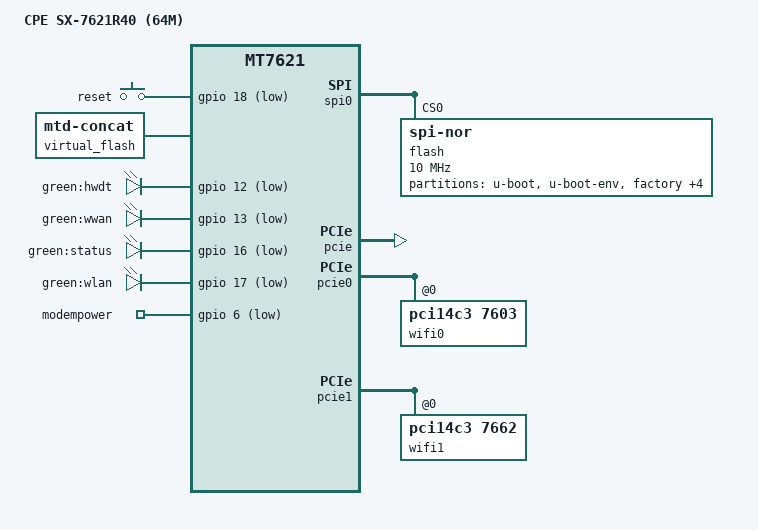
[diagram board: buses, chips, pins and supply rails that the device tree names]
#include "mt7621.dtsi"

#include <dt-bindings/gpio/gpio.h>
#include <dt-bindings/input/input.h>

/ {
	compatible = "oem,cpe-sx-7621r40", "mediatek,mt7621-soc";
	model = "CPE SX-7621R40 (64M)";

	aliases {
		led-boot = &led_status;
		led-failsafe = &led_status;
		led-running = &led_status;
		led-upgrade = &led_status;
		label-mac-device = &wifi0;
	};

	chosen {
		bootargs = "console=ttyS0,115200";
	};

	keys {
		compatible = "gpio-keys";

		reset {
			label = "reset";
			gpios = <&gpio 18 GPIO_ACTIVE_LOW>;
			linux,code = <KEY_RESTART>;
		};
	};

	virtual_flash {
		compatible = "mtd-concat";
		devices = <&fwconcat0 &fwconcat1>;
		partitions {
			compatible = "fixed-partitions";
			#address-cells = <1>;
			#size-cells = <1>;

			partition@0 {
				compatible = "denx,uimage";
				label = "firmware";
				reg = <0x0 0x3f90000>;
			};
		};
	};


	leds {
		compatible = "gpio-leds";

		hwdt {
			label = "green:hwdt";
			gpios = <&gpio 12 GPIO_ACTIVE_LOW>;
			linux,default-trigger = "timer";
		};

		wwan {
			label = "green:wwan";
			gpios = <&gpio 13 GPIO_ACTIVE_LOW>;
		};

		led_status: status {
			label = "green:status";
			gpios = <&gpio 16 GPIO_ACTIVE_LOW>;
		};

		wlan {
			label = "green:wlan";
			gpios = <&gpio 17 GPIO_ACTIVE_LOW>;
		};

	};

	gpio_export {
		compatible = "gpio-export";
		#size-cells = <0>;

		modempower {
			gpio-export,name = "modempower";
			gpio-export,output = <0>;
			gpios = <&gpio 6 GPIO_ACTIVE_LOW>;
		};
	};
};

&spi0 {
	status = "okay";

	flash@0 {
		compatible = "jedec,spi-nor";
		reg = <0>;
		spi-max-frequency = <10000000>;

		partitions {
			compatible = "fixed-partitions";
			#address-cells = <1>;
			#size-cells = <1>;

			partition@0 {
				label = "u-boot";
				reg = <0x0 0x30000>;
				read-only;
			};

			partition@30000 {
				label = "u-boot-env";
				reg = <0x30000 0x10000>;
			};

			factory: partition@40000 {
				label = "factory";
				reg = <0x40000 0x10000>;
				read-only;
			};

			fwconcat0: partition@50000 {
				label = "fwconcat0";
				reg = <0x50000 0xf90000>;
			};

			partition@fe0000 {
				label = "backup";
				reg = <0xfe0000 0x10000>;
			};

			partition@ff0000 {
				label = "bdinfo";
				reg = <0xff0000 0x10000>;
				read-only;
			};

			fwconcat1: partition@1000000 {
				label = "fwconcat1";
				reg = <0x1000000 0x3000000>;
			};

		};
	};
};

&pcie {
	status = "okay";
};

&pcie0 {
	wifi0: wifi@0,0 {
		compatible = "pci14c3,7603";
		reg = <0x0000 0 0 0 0>;
		mediatek,mtd-eeprom = <&factory 0x0000>;
		ieee80211-freq-limit = <2400000 2500000>;
		mtd-mac-address = <&factory 0x4>;
		mtd-mac-address-increment = <(-1)>;
	};
};

&pcie1 {
	wifi1: wifi@0,0 {
		compatible = "pci14c3,7662";
		reg = <0x0000 0 0 0 0>;
		mediatek,mtd-eeprom = <&factory 0x8000>;
		ieee80211-freq-limit = <5000000 6000000>;
		mtd-mac-address = <&factory 0x4>;
		mtd-mac-address-increment = <(-2)>;
	};
}; 

&gmac0 {
	mtd-mac-address = <&factory 0x4>;
};

&switch0 {
	ports {
		port@0 {
			status = "okay";
			label = "lan1";
		};

		port@1 {
			status = "okay";
			label = "lan2";
		};

		port@2 {
			status = "okay";
			label = "lan3";
		};

		port@3 {
			status = "okay";
			label = "lan4";
		};

		port@4 {
			status = "okay";
			label = "wan";
			mtd-mac-address = <&factory 0x4>;
			mtd-mac-address-increment = <1>;
		};
	};
};

&state_default {
	gpio {
		groups = "wdt", "i2c", "jtag", "rgmii2";
		function = "gpio";
	};
};
